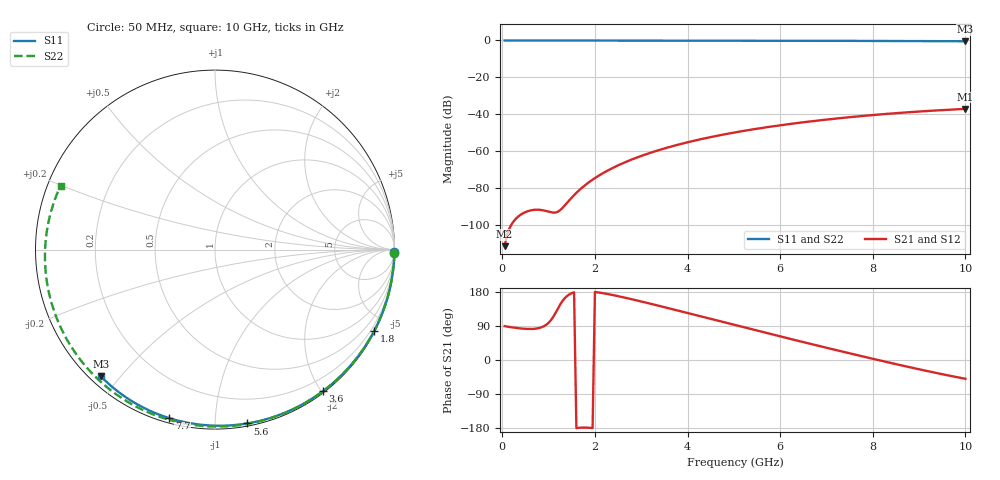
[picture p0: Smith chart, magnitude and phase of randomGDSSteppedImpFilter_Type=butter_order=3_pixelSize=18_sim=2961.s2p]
! freq	dB(S11)	phase(S11)	dB(S12)	phase(S12)
!  dB(S21)	phase(S21)	dB(S22)	phase(S22)
!S-par simulation data
#  GHz  S  DB  R 50
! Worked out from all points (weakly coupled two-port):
!   200 points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, 50 MHz to 10 GHz, reference 50 ohm
!   highest |S21| = -37.11 dB at 10 GHz (marker M1); lowest = -111.6 dB at 50 MHz (marker M2)
!   lowest |S11| = -0.4 dB at 10 GHz (marker M3), VSWR 39.19, Z = 1.53 - j22.2 ohm
!   |S11| at or under -10 dB: nowhere
!   |S22| runs from -0.6 to 0.0 dB; largest |S21 - S12| = 0
!   S11 on the Smith chart (normalised r, x): 50 MHz: open; 1.8 GHz: 0.04, -4.17; 3.6 GHz: 0.02, -2.02; 5.6 GHz: 0.02, -1.20; 7.7 GHz: 0.02, -0.76; 10 GHz: 0.03, -0.44
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0.05  -0.00 -0.8  -111.59 89.3  -111.59 89.3  -0.00 -1.2
0.45  -0.01 -6.8  -93.71 82.7  -93.71 82.7  -0.01 -10.6
0.85  -0.02 -12.8  -92.01 86.5  -92.01 86.5  -0.03 -20.0
1.25  -0.02 -18.8  -92.04 146.3  -92.04 146.3  -0.04 -29.3
1.7  -0.03 -25.5  -80.34 -178.4  -80.34 -178.4  -0.05 -39.5
1.75  -0.03 -26.2  -79.27 -178.2  -79.27 -178.2  -0.05 -40.7
1.8  -0.03 -27.0  -78.26 -178.3  -78.26 -178.3  -0.05 -41.8
2.1  -0.04 -31.4  -73.07 177.8  -73.07 177.8  -0.06 -48.5
2.45  -0.05 -36.4  -68.35 169.8  -68.35 169.8  -0.07 -56.2
2.9  -0.06 -42.9  -63.57 157.4  -63.57 157.4  -0.08 -65.9
3.4  -0.07 -49.9  -59.33 142.5  -59.33 142.5  -0.10 -76.4
3.6  -0.07 -52.7  -57.87 136.4  -57.87 136.4  -0.11 -80.5
4.3  -0.09 -62.3  -53.49 114.7  -53.49 114.7  -0.13 -94.6
5.05  -0.11 -72.3  -49.77 91.4  -49.77 91.4  -0.17 -109.1
5.6  -0.13 -79.4  -47.49 74.5  -47.49 74.5  -0.19 -119.4
6.15  -0.15 -86.4  -45.51 57.7  -45.51 57.7  -0.23 -129.6
6.7  -0.18 -93.2  -43.78 41.2  -43.78 41.2  -0.27 -139.7
7.2  -0.21 -99.3  -42.38 26.4  -42.38 26.4  -0.31 -148.8
7.7  -0.24 -105.2  -41.14 11.8  -41.14 11.8  -0.35 -158.0
8.35  -0.29 -112.9  -39.73 -6.7  -39.73 -6.7  -0.42 -170.0
9.2  -0.36 -122.7  -38.23 -29.8  -38.23 -29.8  -0.52 173.7
10  -0.44 -132.0  -37.11 -49.6  -37.11 -49.6  -0.62 157.5
